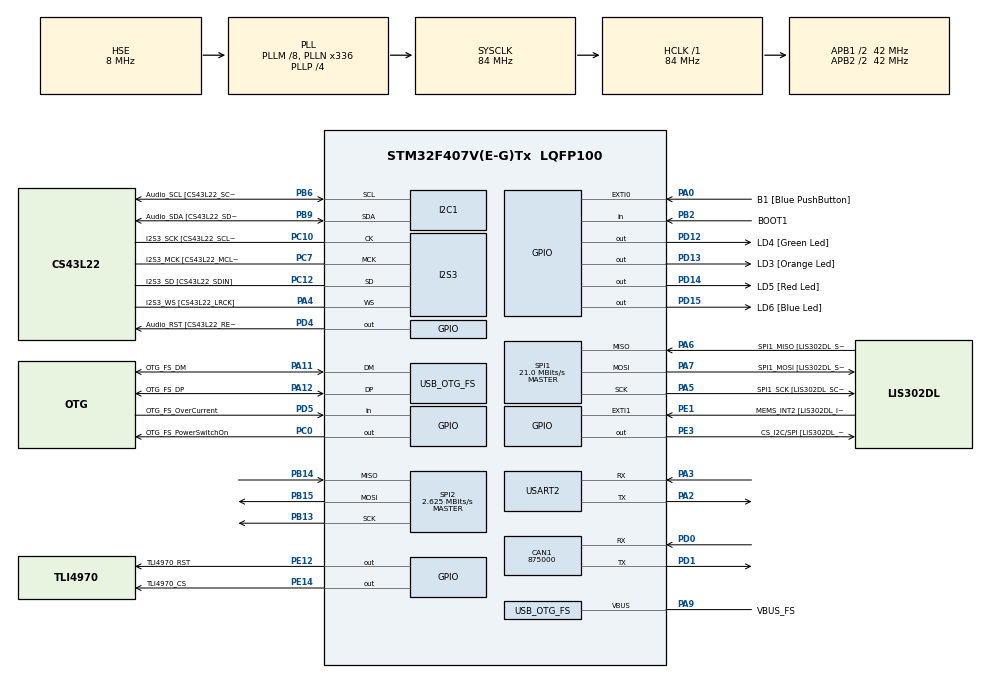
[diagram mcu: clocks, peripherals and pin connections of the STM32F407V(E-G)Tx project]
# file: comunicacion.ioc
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CAN1.BS1=CAN_BS1_1TQ
CAN1.BS2=CAN_BS2_1TQ
CAN1.CalculateBaudRate=875000
CAN1.CalculateTimeBit=1142
CAN1.CalculateTimeQuantum=380.95238095238096
I2S3.AudioFreq-Half_Duplex_Master=I2S_AUDIOFREQ_96K
I2S3.ErrorAudioFreq=-2.34 %
I2S3.ErrorAudioFreq-Half_Duplex_Master=0.8 %
I2S3.FullDuplexMode=I2S_FULLDUPLEXMODE_DISABLE
I2S3.Instance=SPI$Index
I2S3.RealAudioFreq=93.75 KHz
I2S3.RealAudioFreq-Half_Duplex_Master=96.774 KHz
I2S3.VirtualMode=I2S_MODE_MASTER
Mcu.Family=STM32F4
Mcu.Name=STM32F407V(E-G)Tx
Mcu.Package=LQFP100
NVIC.CAN1_RX0_IRQn=true\:0\:0\:false\:false\:true\:true\:true\:true
NVIC.OTG_FS_IRQn=true\:0\:0\:false\:false\:true\:true\:true\:true
NVIC.PriorityGroup=NVIC_PRIORITYGROUP_0
NVIC.TIM6_DAC_IRQn=true\:0\:0\:false\:false\:true\:true\:true\:true
NVIC.USART2_IRQn=true\:0\:0\:false\:false\:true\:true\:true\:true
PA0-WKUP.GPIO_Label=B1 [Blue PushButton]
PA0-WKUP.GPIO_ModeDefaultEXTI=GPIO_MODE_EVT_RISING
PA0-WKUP.GPIO_PuPd=GPIO_NOPULL
PA0-WKUP.Signal=GPXTI0
PA10.GPIO_Label=OTG_FS_ID
PA10.GPIO_Mode=GPIO_MODE_AF_PP
PA10.GPIO_PuPd=GPIO_NOPULL
PA10.GPIO_Speed=GPIO_SPEED_FREQ_LOW
PA10.Signal=USB_OTG_FS_ID
PA11.GPIO_Label=OTG_FS_DM
PA11.GPIO_Mode=GPIO_MODE_AF_PP
PA11.GPIO_PuPd=GPIO_NOPULL
PA11.GPIO_Speed=GPIO_SPEED_FREQ_LOW
PA11.Mode=Host_Only
PA11.Signal=USB_OTG_FS_DM
PA12.GPIO_Label=OTG_FS_DP
PA12.GPIO_Mode=GPIO_MODE_AF_PP
PA12.GPIO_PuPd=GPIO_NOPULL
PA12.GPIO_Speed=GPIO_SPEED_FREQ_LOW
PA12.Mode=Host_Only
PA12.Signal=USB_OTG_FS_DP
PA13.GPIO_Label=SWDIO
PA13.Mode=Serial_Wire
PA13.Signal=SYS_JTMS-SWDIO
PA14.GPIO_Label=SWCLK
PA14.Mode=Serial_Wire
PA14.Signal=SYS_JTCK-SWCLK
PA2.Mode=Asynchronous
PA2.Signal=USART2_TX
PA3.Mode=Asynchronous
PA3.Signal=USART2_RX
PA4.GPIO_Label=I2S3_WS [CS43L22_LRCK]
PA4.GPIO_Mode=GPIO_MODE_AF_PP
PA4.GPIO_PuPd=GPIO_NOPULL
PA4.GPIO_Speed=GPIO_SPEED_FREQ_LOW
PA4.Mode=Half_Duplex_Master
PA4.Signal=I2S3_WS
PA5.GPIO_Label=SPI1_SCK [LIS302DL_SCL/SPC]
PA5.GPIO_Mode=GPIO_MODE_AF_PP
PA5.GPIO_PuPd=GPIO_NOPULL
PA5.GPIO_Speed=GPIO_SPEED_FREQ_LOW
PA5.Mode=Full_Duplex_Master
PA5.Signal=SPI1_SCK
PA6.GPIO_Label=SPI1_MISO [LIS302DL_SDO]
PA6.GPIO_Mode=GPIO_MODE_AF_PP
PA6.GPIO_PuPd=GPIO_NOPULL
PA6.GPIO_Speed=GPIO_SPEED_FREQ_LOW
PA6.Mode=Full_Duplex_Master
PA6.Signal=SPI1_MISO
PA7.GPIO_Label=SPI1_MOSI [LIS302DL_SDA/SDI/SDO]
PA7.GPIO_Mode=GPIO_MODE_AF_PP
PA7.GPIO_PuPd=GPIO_NOPULL
PA7.GPIO_Speed=GPIO_SPEED_FREQ_LOW
PA7.Mode=Full_Duplex_Master
PA7.Signal=SPI1_MOSI
PA9.GPIO_Label=VBUS_FS
PA9.GPIO_Mode=GPIO_MODE_INPUT
PA9.GPIO_PuPd=GPIO_NOPULL
PA9.Mode=Activate_VBUS
PA9.Signal=USB_OTG_FS_VBUS
PB10.GPIO_Label=CLK_IN [MP45DT02_CLK]
PB10.GPIO_Mode=GPIO_MODE_AF_PP
PB10.GPIO_PuPd=GPIO_NOPULL
PB10.GPIO_Speed=GPIO_SPEED_FREQ_LOW
PB10.Signal=I2S2_CK
PB13.Mode=Full_Duplex_Master
PB13.Signal=SPI2_SCK
PB14.Mode=Full_Duplex_Master
PB14.Signal=SPI2_MISO
PB15.Mode=Full_Duplex_Master
PB15.Signal=SPI2_MOSI
PB2.GPIO_Label=BOOT1
PB2.GPIO_Mode=GPIO_MODE_INPUT
PB2.GPIO_PuPd=GPIO_NOPULL
PB2.Signal=GPIO_Input
PB3.GPIO_Label=SWO
PB3.Signal=SYS_JTDO-SWO
PB6.GPIO_Label=Audio_SCL [CS43L22_SCL]
PB6.GPIO_Mode=GPIO_MODE_AF_OD
PB6.GPIO_Pu=GPIO_PULLUP
PB6.GPIO_PuPd=GPIO_NOPULL
PB6.GPIO_Speed=GPIO_SPEED_FREQ_LOW
PB6.Mode=I2C
PB6.Signal=I2C1_SCL
PB9.GPIO_Label=Audio_SDA [CS43L22_SDA]
PB9.GPIO_Mode=GPIO_MODE_AF_OD
PB9.GPIO_Pu=GPIO_PULLUP
PB9.GPIO_PuPd=GPIO_NOPULL
PB9.GPIO_Speed=GPIO_SPEED_FREQ_LOW
PB9.Mode=I2C
PB9.Signal=I2C1_SDA
PC0.GPIO_Label=OTG_FS_PowerSwitchOn
PC0.GPIO_PuPd=GPIO_NOPULL
PC0.GPIO_Speed=GPIO_SPEED_FREQ_LOW
PC0.PinState=GPIO_PIN_SET
PC0.Signal=GPIO_Output
PC10.GPIO_Label=I2S3_SCK [CS43L22_SCLK]
PC10.GPIO_Mode=GPIO_MODE_AF_PP
PC10.GPIO_PuPd=GPIO_NOPULL
PC10.GPIO_Speed=GPIO_SPEED_FREQ_LOW
PC10.Mode=Half_Duplex_Master
PC10.Signal=I2S3_CK
PC12.GPIO_Label=I2S3_SD [CS43L22_SDIN]
PC12.GPIO_Mode=GPIO_MODE_AF_PP
PC12.GPIO_PuPd=GPIO_NOPULL
PC12.GPIO_Speed=GPIO_SPEED_FREQ_LOW
PC12.Mode=Half_Duplex_Master
PC12.Signal=I2S3_SD
PC14-OSC32_IN.GPIO_Label=PC14-OSC32_IN
PC14-OSC32_IN.Mode=LSE-External-Oscillator
PC14-OSC32_IN.Signal=RCC_OSC32_IN
PC15-OSC32_OUT.GPIO_Label=PC15-OSC32_OUT
PC15-OSC32_OUT.Mode=LSE-External-Oscillator
PC15-OSC32_OUT.Signal=RCC_OSC32_OUT
PC3.GPIO_Label=PDM_OUT [MP45DT02_DOUT]
PC3.GPIO_Mode=GPIO_MODE_AF_PP
PC3.GPIO_PuPd=GPIO_NOPULL
PC3.GPIO_Speed=GPIO_SPEED_FREQ_LOW
PC3.Signal=I2S2_SD
PC7.GPIO_Label=I2S3_MCK [CS43L22_MCLK]
PC7.GPIO_Mode=GPIO_MODE_AF_PP
PC7.GPIO_PuPd=GPIO_NOPULL
PC7.GPIO_Speed=GPIO_SPEED_FREQ_LOW
PC7.Mode=Master_Clock_Activated
PC7.Signal=I2S3_MCK
PD0.Mode=CAN_Activate
PD0.Signal=CAN1_RX
PD1.Mode=CAN_Activate
PD1.Signal=CAN1_TX
PD12.GPIO_Label=LD4 [Green Led]
PD12.GPIO_PuPd=GPIO_NOPULL
PD12.GPIO_Speed=GPIO_SPEED_FREQ_LOW
PD12.Signal=GPIO_Output
PD13.GPIO_Label=LD3 [Orange Led]
PD13.GPIO_PuPd=GPIO_NOPULL
PD13.GPIO_Speed=GPIO_SPEED_FREQ_LOW
PD13.Signal=GPIO_Output
PD14.GPIO_Label=LD5 [Red Led]
PD14.GPIO_PuPd=GPIO_NOPULL
PD14.GPIO_Speed=GPIO_SPEED_FREQ_LOW
PD14.Signal=GPIO_Output
PD15.GPIO_Label=LD6 [Blue Led]
PD15.GPIO_PuPd=GPIO_NOPULL
PD15.GPIO_Speed=GPIO_SPEED_FREQ_LOW
PD15.Signal=GPIO_Output
PD4.GPIO_Label=Audio_RST [CS43L22_RESET]
PD4.GPIO_PuPd=GPIO_NOPULL
PD4.GPIO_Speed=GPIO_SPEED_FREQ_LOW
PD4.Signal=GPIO_Output
PD5.GPIO_Label=OTG_FS_OverCurrent
PD5.GPIO_Mode=GPIO_MODE_INPUT
PD5.GPIO_PuPd=GPIO_NOPULL
PD5.Signal=GPIO_Input
PE1.GPIO_Label=MEMS_INT2 [LIS302DL_INT2]
PE1.GPIO_ModeDefaultEXTI=GPIO_MODE_EVT_RISING
PE1.GPIO_PuPd=GPIO_NOPULL
PE1.Signal=GPXTI1
PE12.GPIO_Label=TLI4970_RST
PE12.Signal=GPIO_Output
PE14.GPIO_Label=TLI4970_CS
PE14.Signal=GPIO_Output
PE3.GPIO_Label=CS_I2C/SPI [LIS302DL_CS_I2C/SPI]
PE3.GPIO_PuPd=GPIO_NOPULL
PE3.GPIO_Speed=GPIO_SPEED_FREQ_LOW
PE3.Signal=GPIO_Output
PH0-OSC_IN.GPIO_Label=PH0-OSC_IN
PH0-OSC_IN.Mode=HSE-External-Oscillator
PH0-OSC_IN.Signal=RCC_OSC_IN
PH1-OSC_OUT.GPIO_Label=PH1-OSC_OUT
PH1-OSC_OUT.Mode=HSE-External-Oscillator
PH1-OSC_OUT.Signal=RCC_OSC_OUT
ProjectManager.HeapSize=0x200
ProjectManager.StackSize=0x400
ProjectManager.TargetToolchain=STM32CubeIDE
RCC.48MHZClocksFreq_Value=48000000
RCC.AHBFreq_Value=84000000
RCC.APB1CLKDivider=RCC_HCLK_DIV2
RCC.APB1Freq_Value=42000000
RCC.APB1TimFreq_Value=84000000
RCC.APB2CLKDivider=RCC_HCLK_DIV2
RCC.APB2Freq_Value=42000000
RCC.APB2TimFreq_Value=84000000
RCC.CortexFreq_Value=84000000
RCC.HCLKFreq_Value=84000000
RCC.HSE_VALUE=8000000
RCC.HSI_VALUE=16000000
RCC.PLLM=8
RCC.PLLN=336
RCC.PLLP=RCC_PLLP_DIV4
RCC.PLLQ=7
RCC.SYSCLKFreq_VALUE=84000000
RCC.SYSCLKSource=RCC_SYSCLKSOURCE_PLLCLK
RCC.VCOOutputFreq_Value=336000000
SPI1.BaudRatePrescaler=SPI_BAUDRATEPRESCALER_2
SPI1.BaudRatePrescaler-Full_Duplex_Master=SPI_BAUDRATEPRESCALER_2
SPI1.CalculateBaudRate=21.0 MBits/s
SPI1.CalculateBaudRate-Full_Duplex_Master=42.0 MBits/s
SPI1.Direction=SPI_DIRECTION_2LINES
SPI1.Mode=SPI_MODE_MASTER
SPI1.Mode-Full_Duplex_Master=SPI_MODE_MASTER
SPI1.VirtualType=VM_MASTER
SPI2.BaudRatePrescaler=SPI_BAUDRATEPRESCALER_16
SPI2.CalculateBaudRate=2.625 MBits/s
SPI2.DataSize=SPI_DATASIZE_16BIT
SPI2.Direction=SPI_DIRECTION_2LINES
SPI2.Mode=SPI_MODE_MASTER
SPI2.VirtualType=VM_MASTER
TIM6.Period=999
TIM6.Prescaler=8399
USART2.VirtualMode=VM_ASYNC
USB_HOST.BSP.number=1
USB_HOST.USBH_HandleTypeDef-CDC_FS=hUsbHostFS
USB_HOST.VirtualModeFS=Cdc
USB_HOST0.BSP.STBoard=false
USB_HOST0.BSP.api=Unknown
USB_HOST0.BSP.instance=PC0
USB_HOST0.BSP.ip=GPIO
USB_HOST0.BSP.mode=Output
USB_HOST0.BSP.name=Drive_VBUS_FS
USB_HOST0.BSP.solution=PC0
USB_OTG_FS.VirtualMode=Host_Only
USB_OTG_FS.phy_itface=HCD_PHY_EMBEDDED
VP_TIM6_VS_ClockSourceINT.Mode=Enable_Timer
VP_USB_HOST_VS_USB_HOST_CDC_FS.Mode=CDC_FS
board=STM32F407G-DISC1

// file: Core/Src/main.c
/* USER CODE BEGIN Header */
/**
  ******************************************************************************
  * @file           : main.c
  * @brief          : Main program body
  ******************************************************************************
  * @attention
  *
  * Copyright (c) 2025 STMicroelectronics.
  * All rights reserved.
  *
  * This software is licensed under terms that can be found in the LICENSE file
  * in the root directory of this software component.
  * If no LICENSE file comes with this software, it is provided AS-IS.
  *
  ******************************************************************************
  */
/* USER CODE END Header */
#include "main.h"
#include "usb_host.h"

/* USER CODE BEGIN Includes */
#include <stdio.h>
#include <string.h>
/* USER CODE END Includes */

CAN_HandleTypeDef hcan1;

I2C_HandleTypeDef hi2c1;

I2S_HandleTypeDef hi2s3;

SPI_HandleTypeDef hspi1;
SPI_HandleTypeDef hspi2;

TIM_HandleTypeDef htim6;

UART_HandleTypeDef huart2;

/* USER CODE BEGIN PV */
uint8_t uart_rx_data;
volatile uint8_t motor_duty_cycle = 0; // Iniciar motor parado
/* USER CODE END PV */

void SystemClock_Config(void);
static void MX_GPIO_Init(void);
static void MX_I2C1_Init(void);
static void MX_I2S3_Init(void);
static void MX_SPI1_Init(void);
static void MX_CAN1_Init(void);
static void MX_SPI2_Init(void);
static void MX_TIM6_Init(void);
static void MX_USART2_UART_Init(void);
void MX_USB_HOST_Process(void);

int main(void)
{

  /* MCU Configuration--------------------------------------------------------*/

  /* Reset of all peripherals, Initializes the Flash interface and the Systick. */
  HAL_Init();

  /* Configure the system clock */
  SystemClock_Config();

  /* Initialize all configured peripherals */
  MX_GPIO_Init();
  MX_I2C1_Init();
  MX_I2S3_Init();
  MX_SPI1_Init();
  MX_USB_HOST_Init();
  MX_CAN1_Init();
  MX_SPI2_Init();
  MX_TIM6_Init();
  MX_USART2_UART_Init();
  /* USER CODE BEGIN 2 */

  // Iniciar la recepción por UART con interrupción
  HAL_UART_Receive_IT(&huart2, &uart_rx_data, 1);

  // Iniciar el periférico CAN
  if (HAL_CAN_Start(&hcan1) != HAL_OK) {
      Error_Handler();
  }

  /* USER CODE END 2 */

  /* Infinite loop */
  while (1)
  {
    MX_USB_HOST_Process();

    /* USER CODE BEGIN 3 */
    // --- Lógica de promediado para filtrar el ruido ---
    const int NUM_SAMPLES = 100;
    int32_t sum_current_value = 0;
    for (int i = 0; i < NUM_SAMPLES; i++) {
        uint16_t raw_spi_frame = 0;
        HAL_GPIO_WritePin(TLI4970_CS_GPIO_Port, TLI4970_CS_Pin, GPIO_PIN_RESET);
        HAL_Delay(1);
        HAL_SPI_Receive(&hspi2, (uint8_t *)&raw_spi_frame, 1, 100);
        HAL_GPIO_WritePin(TLI4970_CS_GPIO_Port, TLI4970_CS_Pin, GPIO_PIN_SET);

        raw_spi_frame = (raw_spi_frame << 8) | (raw_spi_frame >> 8);

        int16_t current_value_13bit = raw_spi_frame & 0x1FFF;
        if (current_value_13bit & 0x1000) {
            current_value_13bit |= 0xE000;
        }
        sum_current_value += current_value_13bit;
    }
    float current_mA = (float)(sum_current_value / NUM_SAMPLES) * 12.5f;

    // --- Transmisión de datos ---
    // 1. Enviar corriente por CAN
    CAN_TxHeaderTypeDef TxHeader;
    uint32_t TxMailbox;
    uint8_t can_data[2];
    TxHeader.StdId = 0x123;
    TxHeader.RTR = CAN_RTR_DATA;
    TxHeader.IDE = CAN_ID_STD;
    TxHeader.DLC = 2;
    int16_t current_to_send = (int16_t)current_mA;
    can_data[0] = (uint8_t)(current_to_send >> 8);
    can_data[1] = (uint8_t)(current_to_send);
    HAL_CAN_AddTxMessage(&hcan1, &TxHeader, can_data, &TxMailbox);

    // 2. Enviar corriente por UART
    char uart_buf[50];
    sprintf(uart_buf, "Corriente: %.2f mA\r\n", current_mA);
    HAL_UART_Transmit(&huart2, (uint8_t*)uart_buf, strlen(uart_buf), 100);

    HAL_Delay(500);
  }
  /* USER CODE END 3 */
}

void SystemClock_Config(void)
{
  RCC_OscInitTypeDef RCC_OscInitStruct = {0};
  RCC_ClkInitTypeDef RCC_ClkInitStruct = {0};

  /** Configure the main internal regulator output voltage
  */
  __HAL_RCC_PWR_CLK_ENABLE();
  __HAL_PWR_VOLTAGESCALING_CONFIG(PWR_REGULATOR_VOLTAGE_SCALE1);

  /** Initializes the RCC Oscillators according to the specified parameters
  * in the RCC_OscInitTypeDef structure.
  */
  RCC_OscInitStruct.OscillatorType = RCC_OSCILLATORTYPE_HSE;
  RCC_OscInitStruct.HSEState = RCC_HSE_ON;
  RCC_OscInitStruct.PLL.PLLState = RCC_PLL_ON;
  RCC_OscInitStruct.PLL.PLLSource = RCC_PLLSOURCE_HSE;
  RCC_OscInitStruct.PLL.PLLM = 8;
  RCC_OscInitStruct.PLL.PLLN = 336;
  RCC_OscInitStruct.PLL.PLLP = RCC_PLLP_DIV4;
  RCC_OscInitStruct.PLL.PLLQ = 7;
  if (HAL_RCC_OscConfig(&RCC_OscInitStruct) != HAL_OK)
  {
    Error_Handler();
  }

  /** Initializes the CPU, AHB and APB buses clocks
  */
  RCC_ClkInitStruct.ClockType = RCC_CLOCKTYPE_HCLK|RCC_CLOCKTYPE_SYSCLK
                              |RCC_CLOCKTYPE_PCLK1|RCC_CLOCKTYPE_PCLK2;
  RCC_ClkInitStruct.SYSCLKSource = RCC_SYSCLKSOURCE_PLLCLK;
  RCC_ClkInitStruct.AHBCLKDivider = RCC_SYSCLK_DIV1;
  RCC_ClkInitStruct.APB1CLKDivider = RCC_HCLK_DIV2;
  RCC_ClkInitStruct.APB2CLKDivider = RCC_HCLK_DIV2;

  if (HAL_RCC_ClockConfig(&RCC_ClkInitStruct, FLASH_LATENCY_2) != HAL_OK)
  {
    Error_Handler();
  }
}

static void MX_CAN1_Init(void)
{

  hcan1.Instance = CAN1;
  hcan1.Init.Prescaler = 12;
  hcan1.Init.Mode = CAN_MODE_NORMAL;
  hcan1.Init.SyncJumpWidth = CAN_SJW_1TQ;
  hcan1.Init.TimeSeg1 = CAN_BS1_11TQ;
  hcan1.Init.TimeSeg2 = CAN_BS2_2TQ;
  hcan1.Init.TimeTriggeredMode = DISABLE;
  hcan1.Init.AutoBusOff = DISABLE;
  hcan1.Init.AutoWakeUp = DISABLE;
  hcan1.Init.AutoRetransmission = DISABLE;
  hcan1.Init.ReceiveFifoLocked = DISABLE;
  hcan1.Init.TransmitFifoPriority = DISABLE;
  if (HAL_CAN_Init(&hcan1) != HAL_OK)
  {
    Error_Handler();
  }

}

static void MX_I2C1_Init(void)
{

  hi2c1.Instance = I2C1;
  hi2c1.Init.ClockSpeed = 100000;
  hi2c1.Init.DutyCycle = I2C_DUTYCYCLE_2;
  hi2c1.Init.OwnAddress1 = 0;
  hi2c1.Init.AddressingMode = I2C_ADDRESSINGMODE_7BIT;
  hi2c1.Init.DualAddressMode = I2C_DUALADDRESS_DISABLE;
  hi2c1.Init.OwnAddress2 = 0;
  hi2c1.Init.GeneralCallMode = I2C_GENERALCALL_DISABLE;
  hi2c1.Init.NoStretchMode = I2C_NOSTRETCH_DISABLE;
  if (HAL_I2C_Init(&hi2c1) != HAL_OK)
  {
    Error_Handler();
  }

}

static void MX_I2S3_Init(void)
{

  hi2s3.Instance = SPI3;
  hi2s3.Init.Mode = I2S_MODE_MASTER_TX;
  hi2s3.Init.Standard = I2S_STANDARD_PHILIPS;
  hi2s3.Init.DataFormat = I2S_DATAFORMAT_16B;
  hi2s3.Init.MCLKOutput = I2S_MCLKOUTPUT_ENABLE;
  hi2s3.Init.AudioFreq = I2S_AUDIOFREQ_96K;
  hi2s3.Init.CPOL = I2S_CPOL_LOW;
  hi2s3.Init.ClockSource = I2S_CLOCK_PLL;
  hi2s3.Init.FullDuplexMode = I2S_FULLDUPLEXMODE_DISABLE;
  if (HAL_I2S_Init(&hi2s3) != HAL_OK)
  {
    Error_Handler();
  }

}

static void MX_SPI1_Init(void)
{

  /* SPI1 parameter configuration*/
  hspi1.Instance = SPI1;
  hspi1.Init.Mode = SPI_MODE_MASTER;
  hspi1.Init.Direction = SPI_DIRECTION_2LINES;
  hspi1.Init.DataSize = SPI_DATASIZE_8BIT;
  hspi1.Init.CLKPolarity = SPI_POLARITY_LOW;
  hspi1.Init.CLKPhase = SPI_PHASE_1EDGE;
  hspi1.Init.NSS = SPI_NSS_SOFT;
  hspi1.Init.BaudRatePrescaler = SPI_BAUDRATEPRESCALER_2;
  hspi1.Init.FirstBit = SPI_FIRSTBIT_MSB;
  hspi1.Init.TIMode = SPI_TIMODE_DISABLE;
  hspi1.Init.CRCCalculation = SPI_CRCCALCULATION_DISABLE;
  hspi1.Init.CRCPolynomial = 10;
  if (HAL_SPI_Init(&hspi1) != HAL_OK)
  {
    Error_Handler();
  }

}

static void MX_SPI2_Init(void)
{

  /* SPI2 parameter configuration*/
  hspi2.Instance = SPI2;
  hspi2.Init.Mode = SPI_MODE_MASTER;
  hspi2.Init.Direction = SPI_DIRECTION_2LINES;
  hspi2.Init.DataSize = SPI_DATASIZE_16BIT;
  hspi2.Init.CLKPolarity = SPI_POLARITY_LOW;
  hspi2.Init.CLKPhase = SPI_PHASE_1EDGE;
  hspi2.Init.NSS = SPI_NSS_SOFT;
  hspi2.Init.BaudRatePrescaler = SPI_BAUDRATEPRESCALER_16;
  hspi2.Init.FirstBit = SPI_FIRSTBIT_MSB;
  hspi2.Init.TIMode = SPI_TIMODE_DISABLE;
  hspi2.Init.CRCCalculation = SPI_CRCCALCULATION_DISABLE;
  hspi2.Init.CRCPolynomial = 10;
  if (HAL_SPI_Init(&hspi2) != HAL_OK)
  {
    Error_Handler();
  }

}

static void MX_TIM6_Init(void)
{

  TIM_MasterConfigTypeDef sMasterConfig = {0};

  htim6.Instance = TIM6;
  htim6.Init.Prescaler = 8399;
  htim6.Init.CounterMode = TIM_COUNTERMODE_UP;
  htim6.Init.Period = 999;
  htim6.Init.AutoReloadPreload = TIM_AUTORELOAD_PRELOAD_DISABLE;
  if (HAL_TIM_Base_Init(&htim6) != HAL_OK)
  {
    Error_Handler();
  }
  sMasterConfig.MasterOutputTrigger = TIM_TRGO_RESET;
  sMasterConfig.MasterSlaveMode = TIM_MASTERSLAVEMODE_DISABLE;
  if (HAL_TIMEx_MasterConfigSynchronization(&htim6, &sMasterConfig) != HAL_OK)
  {
    Error_Handler();
  }

}

static void MX_USART2_UART_Init(void)
{

  huart2.Instance = USART2;
  huart2.Init.BaudRate = 115200;
  huart2.Init.WordLength = UART_WORDLENGTH_8B;
  huart2.Init.StopBits = UART_STOPBITS_1;
  huart2.Init.Parity = UART_PARITY_NONE;
  huart2.Init.Mode = UART_MODE_TX_RX;
  huart2.Init.HwFlowCtl = UART_HWCONTROL_NONE;
  huart2.Init.OverSampling = UART_OVERSAMPLING_16;
  if (HAL_UART_Init(&huart2) != HAL_OK)
  {
    Error_Handler();
  }

}

static void MX_GPIO_Init(void)
{
  GPIO_InitTypeDef GPIO_InitStruct = {0};

  /* GPIO Ports Clock Enable */
  __HAL_RCC_GPIOE_CLK_ENABLE();
  __HAL_RCC_GPIOC_CLK_ENABLE();
  __HAL_RCC_GPIOH_CLK_ENABLE();
  __HAL_RCC_GPIOA_CLK_ENABLE();
  __HAL_RCC_GPIOB_CLK_ENABLE();
  __HAL_RCC_GPIOD_CLK_ENABLE();

  /*Configure GPIO pin Output Level */
  HAL_GPIO_WritePin(GPIOE, CS_I2C_SPI_Pin|TLI4970_RST_Pin|TLI4970_CS_Pin, GPIO_PIN_RESET);

  /*Configure GPIO pin Output Level */
  HAL_GPIO_WritePin(OTG_FS_PowerSwitchOn_GPIO_Port, OTG_FS_PowerSwitchOn_Pin, GPIO_PIN_SET);

  /*Configure GPIO pin Output Level */
  HAL_GPIO_WritePin(GPIOD, LD4_Pin|LD3_Pin|LD5_Pin|LD6_Pin
                          |Audio_RST_Pin, GPIO_PIN_RESET);

  /*Configure GPIO pins : CS_I2C_SPI_Pin TLI4970_RST_Pin TLI4970_CS_Pin */
  GPIO_InitStruct.Pin = CS_I2C_SPI_Pin|TLI4970_RST_Pin|TLI4970_CS_Pin;
  GPIO_InitStruct.Mode = GPIO_MODE_OUTPUT_PP;
  GPIO_InitStruct.Pull = GPIO_NOPULL;
  GPIO_InitStruct.Speed = GPIO_SPEED_FREQ_LOW;
  HAL_GPIO_Init(GPIOE, &GPIO_InitStruct);

  /*Configure GPIO pin : OTG_FS_PowerSwitchOn_Pin */
  GPIO_InitStruct.Pin = OTG_FS_PowerSwitchOn_Pin;
  GPIO_InitStruct.Mode = GPIO_MODE_OUTPUT_PP;
  GPIO_InitStruct.Pull = GPIO_NOPULL;
  GPIO_InitStruct.Speed = GPIO_SPEED_FREQ_LOW;
  HAL_GPIO_Init(OTG_FS_PowerSwitchOn_GPIO_Port, &GPIO_InitStruct);

  /*Configure GPIO pin : PDM_OUT_Pin */
  GPIO_InitStruct.Pin = PDM_OUT_Pin;
  GPIO_InitStruct.Mode = GPIO_MODE_AF_PP;
  GPIO_InitStruct.Pull = GPIO_NOPULL;
  GPIO_InitStruct.Speed = GPIO_SPEED_FREQ_LOW;
  GPIO_InitStruct.Alternate = GPIO_AF5_SPI2;
  HAL_GPIO_Init(PDM_OUT_GPIO_Port, &GPIO_InitStruct);

  /*Configure GPIO pin : B1_Pin */
  GPIO_InitStruct.Pin = B1_Pin;
  GPIO_InitStruct.Mode = GPIO_MODE_EVT_RISING;
  GPIO_InitStruct.Pull = GPIO_NOPULL;
  HAL_GPIO_Init(B1_GPIO_Port, &GPIO_InitStruct);

  /*Configure GPIO pin : BOOT1_Pin */
  GPIO_InitStruct.Pin = BOOT1_Pin;
  GPIO_InitStruct.Mode = GPIO_MODE_INPUT;
  GPIO_InitStruct.Pull = GPIO_NOPULL;
  HAL_GPIO_Init(BOOT1_GPIO_Port, &GPIO_InitStruct);

  /*Configure GPIO pin : CLK_IN_Pin */
  GPIO_InitStruct.Pin = CLK_IN_Pin;
  GPIO_InitStruct.Mode = GPIO_MODE_AF_PP;
  GPIO_InitStruct.Pull = GPIO_NOPULL;
  GPIO_InitStruct.Speed = GPIO_SPEED_FREQ_LOW;
  GPIO_InitStruct.Alternate = GPIO_AF5_SPI2;
  HAL_GPIO_Init(CLK_IN_GPIO_Port, &GPIO_InitStruct);

  /*Configure GPIO pins : LD4_Pin LD3_Pin LD5_Pin LD6_Pin
                           Audio_RST_Pin */
  GPIO_InitStruct.Pin = LD4_Pin|LD3_Pin|LD5_Pin|LD6_Pin
                          |Audio_RST_Pin;
  GPIO_InitStruct.Mode = GPIO_MODE_OUTPUT_PP;
  GPIO_InitStruct.Pull = GPIO_NOPULL;
  GPIO_InitStruct.Speed = GPIO_SPEED_FREQ_LOW;
  HAL_GPIO_Init(GPIOD, &GPIO_InitStruct);

  /*Configure GPIO pin : OTG_FS_OverCurrent_Pin */
  GPIO_InitStruct.Pin = OTG_FS_OverCurrent_Pin;
  GPIO_InitStruct.Mode = GPIO_MODE_INPUT;
  GPIO_InitStruct.Pull = GPIO_NOPULL;
  HAL_GPIO_Init(OTG_FS_OverCurrent_GPIO_Port, &GPIO_InitStruct);

  /*Configure GPIO pin : MEMS_INT2_Pin */
  GPIO_InitStruct.Pin = MEMS_INT2_Pin;
  GPIO_InitStruct.Mode = GPIO_MODE_EVT_RISING;
  GPIO_InitStruct.Pull = GPIO_NOPULL;
  HAL_GPIO_Init(MEMS_INT2_GPIO_Port, &GPIO_InitStruct);

}

/* USER CODE BEGIN 4 */
// La interrupción de UART procesa los comandos de forma limpia
void HAL_UART_RxCpltCallback(UART_HandleTypeDef *huart)
{
  if (huart->Instance == USART2)
  {
    if (uart_rx_data == 'A' || uart_rx_data == 'a') {
      if (motor_duty_cycle <= 95) motor_duty_cycle += 5; else motor_duty_cycle = 100;
    }
    else if (uart_rx_data == 'D' || uart_rx_data == 'd') {
      if (motor_duty_cycle >= 5) motor_duty_cycle -= 5; else motor_duty_cycle = 0;
    }

    // Imprimir el comando procesado
    char command_buf[60];
    sprintf(command_buf, "Comando: %s. Nueva velocidad objetivo: %d%%\r\n",
            (uart_rx_data == 'A' || uart_rx_data == 'a') ? "Aumentar" : "Disminuir",
            motor_duty_cycle);
    HAL_UART_Transmit(&huart2, (uint8_t*)command_buf, strlen(command_buf), 100);

    // Enviar la nueva velocidad por CAN
    CAN_TxHeaderTypeDef TxHeader;
    uint32_t TxMailbox;
    uint8_t speed_data[1] = {motor_duty_cycle};
    TxHeader.StdId = 0x124;
    TxHeader.RTR = CAN_RTR_DATA;
    TxHeader.IDE = CAN_ID_STD;
    TxHeader.DLC = 1;
    HAL_CAN_AddTxMessage(&hcan1, &TxHeader, speed_data, &TxMailbox);

    // Rearmar la interrupción
    HAL_UART_Receive_IT(&huart2, &uart_rx_data, 1);
  }
}
/* USER CODE END 4 */

void Error_Handler(void)
{
  __disable_irq();
  while (1)
  {
  }
}
